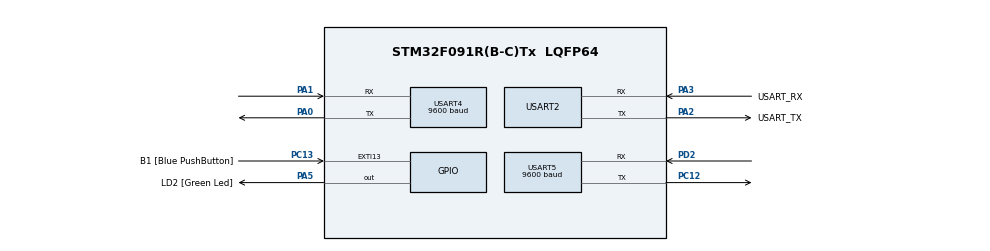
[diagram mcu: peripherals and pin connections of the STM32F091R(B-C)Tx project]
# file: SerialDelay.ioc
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Mcu.Family=STM32F0
Mcu.Name=STM32F091R(B-C)Tx
Mcu.Package=LQFP64
NVIC.TIM1_BRK_UP_TRG_COM_IRQn=true\:0\:0\:false\:false\:true\:true\:true\:true
NVIC.USART3_8_IRQn=true\:0\:0\:false\:false\:true\:true\:true\:true
PA0.Mode=Asynchronous
PA0.Signal=USART4_TX
PA1.Mode=Asynchronous
PA1.Signal=USART4_RX
PA13.GPIO_Label=TMS
PA13.Mode=Serial_Wire
PA13.Signal=SYS_SWDIO
PA14.GPIO_Label=TCK
PA14.Mode=Serial_Wire
PA14.Signal=SYS_SWCLK
PA2.GPIO_Label=USART_TX
PA2.GPIO_Mode=GPIO_MODE_AF_PP
PA2.GPIO_PuPd=GPIO_NOPULL
PA2.GPIO_Speed=GPIO_SPEED_FREQ_LOW
PA2.Mode=Asynchronous
PA2.Signal=USART2_TX
PA3.GPIO_Label=USART_RX
PA3.GPIO_Mode=GPIO_MODE_AF_PP
PA3.GPIO_PuPd=GPIO_NOPULL
PA3.GPIO_Speed=GPIO_SPEED_FREQ_LOW
PA3.Mode=Asynchronous
PA3.Signal=USART2_RX
PA5.GPIO_Label=LD2 [Green Led]
PA5.GPIO_Mode=GPIO_MODE_OUTPUT_PP
PA5.GPIO_PuPd=GPIO_NOPULL
PA5.GPIO_Speed=GPIO_SPEED_FREQ_LOW
PA5.Signal=GPIO_Output
PC12.Mode=Asynchronous
PC12.Signal=USART5_TX
PC13.GPIO_Label=B1 [Blue PushButton]
PC13.GPIO_ModeDefaultEXTI=GPIO_MODE_IT_FALLING
PC13.Signal=GPXTI13
PD2.Mode=Asynchronous
PD2.Signal=USART5_RX
ProjectManager.HeapSize=0x200
ProjectManager.StackSize=0x400
ProjectManager.TargetToolchain=STM32CubeIDE
RCC.AHBFreq_Value=48000000
RCC.APB1Freq_Value=48000000
RCC.APB1TimFreq_Value=48000000
RCC.FLatency-AdvancedSettings=FLASH_LATENCY_1
RCC.HCLKFreq_Value=48000000
RCC.PLLDivider=RCC_PREDIV_DIV2
RCC.PLLMUL=RCC_PLL_MUL12
RCC.PREFETCH_ENABLE-AdvancedSettings=1
RCC.SYSCLKFreq_VALUE=48000000
RCC.SYSCLKSource=RCC_SYSCLKSOURCE_PLLCLK
TIM1.AutoReloadPreload=TIM_AUTORELOAD_PRELOAD_ENABLE
TIM1.Period=999
TIM1.Prescaler=2399
USART2.VirtualMode=VM_ASYNC
USART2.VirtualMode-Asynchronous=VM_ASYNC
USART4.BaudRate=9600
USART4.VirtualMode-Asynchronous=VM_ASYNC
USART5.BaudRate=9600
USART5.VirtualMode-Asynchronous=VM_ASYNC
VP_TIM1_VS_ClockSourceINT.Mode=Internal
board=NUCLEO-F091RC

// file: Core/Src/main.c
/* USER CODE BEGIN Header */
/**
  ******************************************************************************
  * @file           : main.c
  * @brief          : Main program body
  ******************************************************************************
  * @attention
  *
  * Copyright (c) 2025 STMicroelectronics.
  * All rights reserved.
  *
  * This software is licensed under terms that can be found in the LICENSE file
  * in the root directory of this software component.
  * If no LICENSE file comes with this software, it is provided AS-IS.
  *
  ******************************************************************************
  */
/* USER CODE END Header */
#include "main.h"

/* USER CODE BEGIN PV */
ByteQueue queueCh1;
ByteQueue queueCh2;
uint8_t u8BytesCh1;
uint8_t u8BytesCh2;

/* USER CODE END PV */

void SystemClock_Config(void);
static void MX_GPIO_Init(void);
static void MX_TIM1_Init(void);
static void MX_USART2_UART_Init(void);
static void MX_USART4_UART_Init(void);
static void MX_USART5_UART_Init(void);

int main(void)
{

  /* MCU Configuration--------------------------------------------------------*/

  /* Reset of all peripherals, Initializes the Flash interface and the Systick. */
  LL_APB1_GRP2_EnableClock(LL_APB1_GRP2_PERIPH_SYSCFG);
  LL_APB1_GRP1_EnableClock(LL_APB1_GRP1_PERIPH_PWR);

  /* Configure the system clock */
  SystemClock_Config();

  /* Initialize all configured peripherals */
  MX_GPIO_Init();
  MX_TIM1_Init();
  MX_USART2_UART_Init();
  MX_USART4_UART_Init();
  MX_USART5_UART_Init();
  /* USER CODE BEGIN 2 */

  queue_init(&queueCh1);
  queue_enqueue(&queueCh1, 0xAA);
  queue_init(&queueCh2);
  queue_enqueue(&queueCh2, 0xBB);

  /* USER CODE END 2 */

  /* Infinite loop */
  /* USER CODE BEGIN WHILE */
  while (1)
  {

		if (u8BytesCh2 > 0)
		{
		  if (LL_USART_IsActiveFlag_TXE(USART5))
		  {
			  uint8_t b;
			  if (queue_dequeue(&queueCh2, &b))
			  {
				  LL_TIM_DisableIT_UPDATE(TIM1);
				  LL_USART_TransmitData8(USART5, b);
				  u8BytesCh1--;
				  LL_TIM_EnableIT_UPDATE(TIM1);
			  }
		  	}
		  }

		if (u8BytesCh2 > 0)
		{
		  if (LL_USART_IsActiveFlag_TXE(USART4))
		  {
			  uint8_t b;
			  if (queue_dequeue(&queueCh1, &b))
			  {
				  LL_TIM_DisableIT_UPDATE(TIM1);
				  LL_USART_TransmitData8(USART4, b);
				  u8BytesCh2--;
				  LL_TIM_EnableIT_UPDATE(TIM1);
			  }
		  	}
		  }

    /* USER CODE END WHILE */

  }
}

void SystemClock_Config(void)
{
  LL_FLASH_SetLatency(LL_FLASH_LATENCY_1);
  while(LL_FLASH_GetLatency() != LL_FLASH_LATENCY_1)
  {
  }
  LL_RCC_HSI_Enable();

   /* Wait till HSI is ready */
  while(LL_RCC_HSI_IsReady() != 1)
  {

  }
  LL_RCC_HSI_SetCalibTrimming(16);
  LL_RCC_PLL_ConfigDomain_SYS(LL_RCC_PLLSOURCE_HSI, LL_RCC_PLL_MUL_12, LL_RCC_PREDIV_DIV_2);
  LL_RCC_PLL_Enable();

   /* Wait till PLL is ready */
  while(LL_RCC_PLL_IsReady() != 1)
  {

  }
  LL_RCC_SetAHBPrescaler(LL_RCC_SYSCLK_DIV_1);
  LL_RCC_SetAPB1Prescaler(LL_RCC_APB1_DIV_1);
  LL_RCC_SetSysClkSource(LL_RCC_SYS_CLKSOURCE_PLL);

   /* Wait till System clock is ready */
  while(LL_RCC_GetSysClkSource() != LL_RCC_SYS_CLKSOURCE_STATUS_PLL)
  {

  }
  LL_Init1msTick(48000000);
  LL_SetSystemCoreClock(48000000);
  LL_RCC_SetUSARTClockSource(LL_RCC_USART2_CLKSOURCE_PCLK1);
}

static void MX_TIM1_Init(void)
{

  LL_TIM_InitTypeDef TIM_InitStruct = {0};

  /* Peripheral clock enable */
  LL_APB1_GRP2_EnableClock(LL_APB1_GRP2_PERIPH_TIM1);

  /* TIM1 interrupt Init */
  NVIC_SetPriority(TIM1_BRK_UP_TRG_COM_IRQn, 0);
  NVIC_EnableIRQ(TIM1_BRK_UP_TRG_COM_IRQn);

  TIM_InitStruct.Prescaler = 2399;
  TIM_InitStruct.CounterMode = LL_TIM_COUNTERMODE_UP;
  TIM_InitStruct.Autoreload = 999;
  TIM_InitStruct.ClockDivision = LL_TIM_CLOCKDIVISION_DIV1;
  TIM_InitStruct.RepetitionCounter = 0;
  LL_TIM_Init(TIM1, &TIM_InitStruct);
  LL_TIM_EnableARRPreload(TIM1);
  LL_TIM_SetClockSource(TIM1, LL_TIM_CLOCKSOURCE_INTERNAL);
  LL_TIM_SetTriggerOutput(TIM1, LL_TIM_TRGO_RESET);
  LL_TIM_DisableMasterSlaveMode(TIM1);
  /* USER CODE BEGIN TIM1_Init 2 */
  LL_TIM_EnableCounter(TIM1);
  LL_TIM_ClearFlag_UPDATE(TIM1);
  LL_TIM_EnableIT_UPDATE(TIM1);
  /* USER CODE END TIM1_Init 2 */

}

static void MX_USART2_UART_Init(void)
{

  LL_USART_InitTypeDef USART_InitStruct = {0};

  LL_GPIO_InitTypeDef GPIO_InitStruct = {0};

  /* Peripheral clock enable */
  LL_APB1_GRP1_EnableClock(LL_APB1_GRP1_PERIPH_USART2);

  LL_AHB1_GRP1_EnableClock(LL_AHB1_GRP1_PERIPH_GPIOA);
  /**USART2 GPIO Configuration
  PA2   ------> USART2_TX
  PA3   ------> USART2_RX
  */
  GPIO_InitStruct.Pin = USART_TX_Pin;
  GPIO_InitStruct.Mode = LL_GPIO_MODE_ALTERNATE;
  GPIO_InitStruct.Speed = LL_GPIO_SPEED_FREQ_LOW;
  GPIO_InitStruct.OutputType = LL_GPIO_OUTPUT_PUSHPULL;
  GPIO_InitStruct.Pull = LL_GPIO_PULL_NO;
  GPIO_InitStruct.Alternate = LL_GPIO_AF_1;
  LL_GPIO_Init(USART_TX_GPIO_Port, &GPIO_InitStruct);

  GPIO_InitStruct.Pin = USART_RX_Pin;
  GPIO_InitStruct.Mode = LL_GPIO_MODE_ALTERNATE;
  GPIO_InitStruct.Speed = LL_GPIO_SPEED_FREQ_LOW;
  GPIO_InitStruct.OutputType = LL_GPIO_OUTPUT_PUSHPULL;
  GPIO_InitStruct.Pull = LL_GPIO_PULL_NO;
  GPIO_InitStruct.Alternate = LL_GPIO_AF_1;
  LL_GPIO_Init(USART_RX_GPIO_Port, &GPIO_InitStruct);

  USART_InitStruct.BaudRate = 115200;
  USART_InitStruct.DataWidth = LL_USART_DATAWIDTH_8B;
  USART_InitStruct.StopBits = LL_USART_STOPBITS_1;
  USART_InitStruct.Parity = LL_USART_PARITY_NONE;
  USART_InitStruct.TransferDirection = LL_USART_DIRECTION_TX_RX;
  USART_InitStruct.HardwareFlowControl = LL_USART_HWCONTROL_NONE;
  USART_InitStruct.OverSampling = LL_USART_OVERSAMPLING_16;
  LL_USART_Init(USART2, &USART_InitStruct);
  LL_USART_DisableIT_CTS(USART2);
  LL_USART_ConfigAsyncMode(USART2);
    LL_USART_Enable(USART2);

}

static void MX_USART4_UART_Init(void)
{

  LL_USART_InitTypeDef USART_InitStruct = {0};

  LL_GPIO_InitTypeDef GPIO_InitStruct = {0};

  /* Peripheral clock enable */
  LL_APB1_GRP1_EnableClock(LL_APB1_GRP1_PERIPH_USART4);

  LL_AHB1_GRP1_EnableClock(LL_AHB1_GRP1_PERIPH_GPIOA);
  /**USART4 GPIO Configuration
  PA0   ------> USART4_TX
  PA1   ------> USART4_RX
  */
  GPIO_InitStruct.Pin = LL_GPIO_PIN_0;
  GPIO_InitStruct.Mode = LL_GPIO_MODE_ALTERNATE;
  GPIO_InitStruct.Speed = LL_GPIO_SPEED_FREQ_HIGH;
  GPIO_InitStruct.OutputType = LL_GPIO_OUTPUT_PUSHPULL;
  GPIO_InitStruct.Pull = LL_GPIO_PULL_NO;
  GPIO_InitStruct.Alternate = LL_GPIO_AF_4;
  LL_GPIO_Init(GPIOA, &GPIO_InitStruct);

  GPIO_InitStruct.Pin = LL_GPIO_PIN_1;
  GPIO_InitStruct.Mode = LL_GPIO_MODE_ALTERNATE;
  GPIO_InitStruct.Speed = LL_GPIO_SPEED_FREQ_HIGH;
  GPIO_InitStruct.OutputType = LL_GPIO_OUTPUT_PUSHPULL;
  GPIO_InitStruct.Pull = LL_GPIO_PULL_NO;
  GPIO_InitStruct.Alternate = LL_GPIO_AF_4;
  LL_GPIO_Init(GPIOA, &GPIO_InitStruct);

  /* USART4 interrupt Init */
  NVIC_SetPriority(USART3_8_IRQn, 0);
  NVIC_EnableIRQ(USART3_8_IRQn);

  USART_InitStruct.BaudRate = 9600;
  USART_InitStruct.DataWidth = LL_USART_DATAWIDTH_8B;
  USART_InitStruct.StopBits = LL_USART_STOPBITS_1;
  USART_InitStruct.Parity = LL_USART_PARITY_NONE;
  USART_InitStruct.TransferDirection = LL_USART_DIRECTION_TX_RX;
  USART_InitStruct.HardwareFlowControl = LL_USART_HWCONTROL_NONE;
  USART_InitStruct.OverSampling = LL_USART_OVERSAMPLING_16;
  LL_USART_Init(USART4, &USART_InitStruct);
  LL_USART_DisableIT_CTS(USART4);
  LL_USART_ConfigAsyncMode(USART4);
  LL_USART_Enable(USART4);
  /* USER CODE BEGIN USART4_Init 2 */
  LL_USART_EnableIT_RXNE(USART4);
  /* USER CODE END USART4_Init 2 */

}

static void MX_USART5_UART_Init(void)
{

  LL_USART_InitTypeDef USART_InitStruct = {0};

  LL_GPIO_InitTypeDef GPIO_InitStruct = {0};

  /* Peripheral clock enable */
  LL_APB1_GRP1_EnableClock(LL_APB1_GRP1_PERIPH_USART5);

  LL_AHB1_GRP1_EnableClock(LL_AHB1_GRP1_PERIPH_GPIOC);
  LL_AHB1_GRP1_EnableClock(LL_AHB1_GRP1_PERIPH_GPIOD);
  /**USART5 GPIO Configuration
  PC12   ------> USART5_TX
  PD2   ------> USART5_RX
  */
  GPIO_InitStruct.Pin = LL_GPIO_PIN_12;
  GPIO_InitStruct.Mode = LL_GPIO_MODE_ALTERNATE;
  GPIO_InitStruct.Speed = LL_GPIO_SPEED_FREQ_HIGH;
  GPIO_InitStruct.OutputType = LL_GPIO_OUTPUT_PUSHPULL;
  GPIO_InitStruct.Pull = LL_GPIO_PULL_NO;
  GPIO_InitStruct.Alternate = LL_GPIO_AF_2;
  LL_GPIO_Init(GPIOC, &GPIO_InitStruct);

  GPIO_InitStruct.Pin = LL_GPIO_PIN_2;
  GPIO_InitStruct.Mode = LL_GPIO_MODE_ALTERNATE;
  GPIO_InitStruct.Speed = LL_GPIO_SPEED_FREQ_HIGH;
  GPIO_InitStruct.OutputType = LL_GPIO_OUTPUT_PUSHPULL;
  GPIO_InitStruct.Pull = LL_GPIO_PULL_NO;
  GPIO_InitStruct.Alternate = LL_GPIO_AF_2;
  LL_GPIO_Init(GPIOD, &GPIO_InitStruct);

  /* USART5 interrupt Init */
  NVIC_SetPriority(USART3_8_IRQn, 0);
  NVIC_EnableIRQ(USART3_8_IRQn);

  USART_InitStruct.BaudRate = 9600;
  USART_InitStruct.DataWidth = LL_USART_DATAWIDTH_8B;
  USART_InitStruct.StopBits = LL_USART_STOPBITS_1;
  USART_InitStruct.Parity = LL_USART_PARITY_NONE;
  USART_InitStruct.TransferDirection = LL_USART_DIRECTION_TX_RX;
  USART_InitStruct.HardwareFlowControl = LL_USART_HWCONTROL_NONE;
  USART_InitStruct.OverSampling = LL_USART_OVERSAMPLING_16;
  LL_USART_Init(USART5, &USART_InitStruct);
  LL_USART_DisableIT_CTS(USART5);
  LL_USART_ConfigAsyncMode(USART5);
  LL_USART_Enable(USART5);
  /* USER CODE BEGIN USART5_Init 2 */
  LL_USART_EnableIT_RXNE(USART5);
  /* USER CODE END USART5_Init 2 */

}

static void MX_GPIO_Init(void)
{
  LL_EXTI_InitTypeDef EXTI_InitStruct = {0};
  LL_GPIO_InitTypeDef GPIO_InitStruct = {0};

  /* GPIO Ports Clock Enable */
  LL_AHB1_GRP1_EnableClock(LL_AHB1_GRP1_PERIPH_GPIOC);
  LL_AHB1_GRP1_EnableClock(LL_AHB1_GRP1_PERIPH_GPIOA);
  LL_AHB1_GRP1_EnableClock(LL_AHB1_GRP1_PERIPH_GPIOD);

  /**/
  LL_GPIO_ResetOutputPin(LD2_GPIO_Port, LD2_Pin);

  /**/
  LL_SYSCFG_SetEXTISource(LL_SYSCFG_EXTI_PORTC, LL_SYSCFG_EXTI_LINE13);

  /**/
  LL_GPIO_SetPinPull(B1_GPIO_Port, B1_Pin, LL_GPIO_PULL_NO);

  /**/
  LL_GPIO_SetPinMode(B1_GPIO_Port, B1_Pin, LL_GPIO_MODE_INPUT);

  /**/
  EXTI_InitStruct.Line_0_31 = LL_EXTI_LINE_13;
  EXTI_InitStruct.LineCommand = ENABLE;
  EXTI_InitStruct.Mode = LL_EXTI_MODE_IT;
  EXTI_InitStruct.Trigger = LL_EXTI_TRIGGER_FALLING;
  LL_EXTI_Init(&EXTI_InitStruct);

  /**/
  GPIO_InitStruct.Pin = LD2_Pin;
  GPIO_InitStruct.Mode = LL_GPIO_MODE_OUTPUT;
  GPIO_InitStruct.Speed = LL_GPIO_SPEED_FREQ_LOW;
  GPIO_InitStruct.OutputType = LL_GPIO_OUTPUT_PUSHPULL;
  GPIO_InitStruct.Pull = LL_GPIO_PULL_NO;
  LL_GPIO_Init(LD2_GPIO_Port, &GPIO_InitStruct);

}

void Error_Handler(void)
{
  __disable_irq();
  while (1)
  {
  }
}
